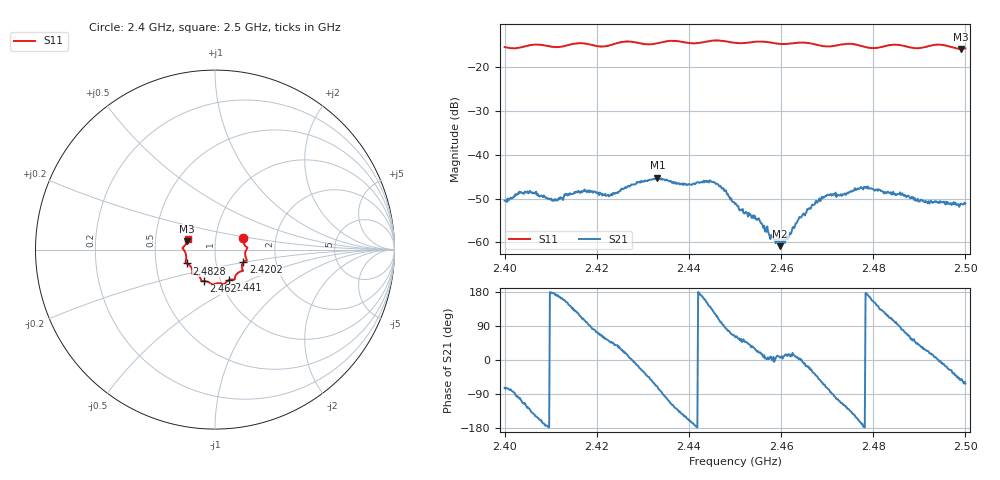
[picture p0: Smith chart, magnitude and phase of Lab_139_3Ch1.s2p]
# Hz S RI R 50
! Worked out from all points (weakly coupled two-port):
!   601 points, 2.4 GHz to 2.5 GHz, reference 50 ohm
!   highest |S21| = -45.25 dB at 2.4332 GHz (marker M1); lowest = -60.9 dB at 2.4598 GHz (marker M2)
!   lowest |S11| = -15.8 dB at 2.499 GHz (marker M3), VSWR 1.38, Z = 36.5 + j3.47 ohm
!   |S11| at or under -10 dB: start of sweep to end of sweep
!   S12 and S22 are empty: the file has one direction only
!   S11 on the Smith chart (normalised r, x): 2.4 GHz: 1.36, +0.18; 2.4202 GHz: 1.36, -0.20; 2.441 GHz: 1.10, -0.39; 2.462 GHz: 0.84, -0.30; 2.4828 GHz: 0.72, -0.11; 2.5 GHz: 0.73, +0.09
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2.4e9  0.1575 0.063  0.000856 -0.00287  0 0  0 0
2.4035e9  0.1665 0.0237  -0.000985 -0.00364  0 0  0 0
2.410833e9  0.1691 -0.0143  -0.00309 0.000242  0 0  0 0
2.416667e9  0.1779 -0.0601  -0.00142 0.00358  0 0  0 0
2.420167e9  0.1582 -0.0707  0.0011 0.00344  0 0  0 0
2.422833e9  0.1495 -0.0959  0.0023 0.00255  0 0  0 0
2.433167e9  0.1127 -0.1497  0.00182 -0.00515  0 0  0 0
2.433333e9  0.1122 -0.151  0.00128 -0.00516  0 0  0 0
2.441e9  0.0785 -0.1695  -0.00459 -0.000899  0 0  0 0
2.445833e9  0.0511 -0.195  -0.00228 0.00405  0 0  0 0
2.45e9  0.0285 -0.1871  0.00133 0.00239  0 0  0 0
2.454833e9  -0.011 -0.1952  0.00167 0.000673  0 0  0 0
2.458e9  -0.0246 -0.188  0.00118 9.68e-06  0 0  0 0
2.459833e9  -0.0397 -0.1797  0.0009 9.51e-05  0 0  0 0
2.462e9  -0.0604 -0.1755  0.00127 0.000212  0 0  0 0
2.466667e9  -0.078 -0.1682  0.00237 -0.00122  0 0  0 0
2.47e9  -0.0951 -0.1436  0.000959 -0.00336  0 0  0 0
2.477167e9  -0.1259 -0.1231  -0.00404 -0.00111  0 0  0 0
2.482833e9  -0.1576 -0.0771  -0.00186 0.00311  0 0  0 0
2.483333e9  -0.1606 -0.076  -0.00149 0.00338  0 0  0 0
2.499e9  -0.1546 0.0464  0.00167 -0.00222  0 0  0 0
2.5e9  -0.1518 0.0609  0.00129 -0.00245  0 0  0 0
